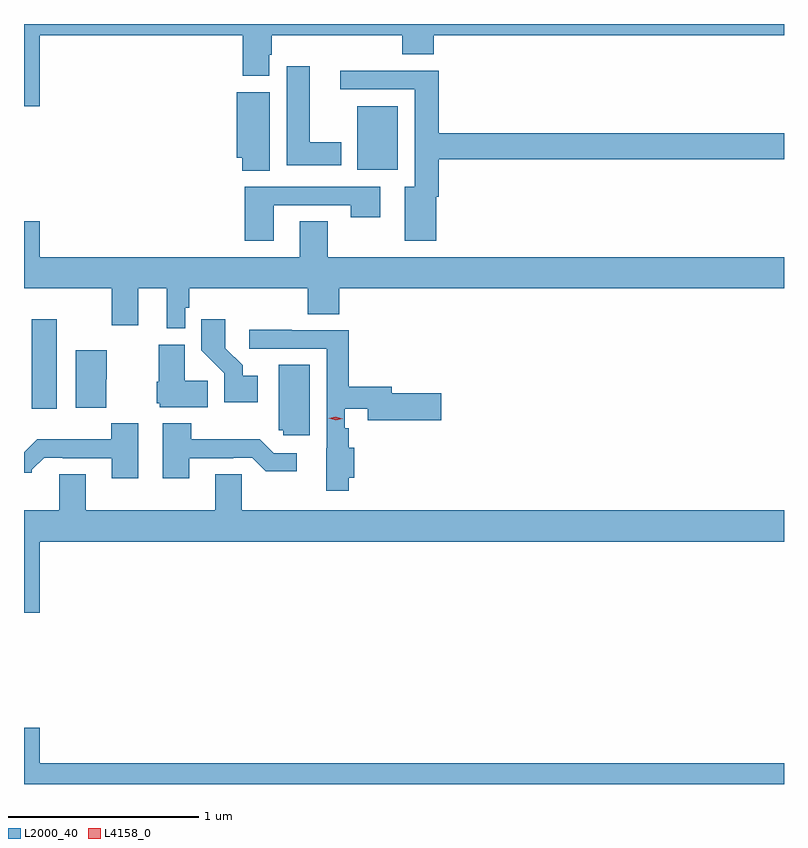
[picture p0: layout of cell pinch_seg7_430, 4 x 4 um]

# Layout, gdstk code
import gdstk
lib = gdstk.Library(unit=1e-6, precision=1e-09)
def R(c, l, rs):  # rectangles x0, y0, x1, y1
    for r in rs: c.add(gdstk.rectangle(r[:2], r[2:], *l))
def P(c, l, *ps):  # polygons
    for p in ps: c.add(gdstk.Polygon(p, *l))
L2000_40 = (2000, 40)
L4158_0 = (4158, 0)

pinch_seg7_430 = lib.new_cell('pinch_seg7_430')
R(pinch_seg7_430, L2000_40, [(249.047,1045.272,249.178,1045.741), (250.76,1046.528,250.972,1046.863)])
P(pinch_seg7_430, L2000_40, [(249.088,1047.236),(250.157,1047.236),(250.157,1047.023),(250.297,1047.023),(250.297,1047.135),(250.31,1047.135),(250.31,1047.236),(250.997,1047.236),(250.997,1047.137),(251.162,1047.137),(251.162,1047.236),(253.006,1047.236),(253.006,1047.296),(249.006,1047.296),(249.006,1046.862),(249.088,1046.862)],
  [(250.675,1046.674),(250.51,1046.674),(250.51,1047.073),(250.388,1047.073),(250.388,1046.552),(250.675,1046.552)],
  [(251.176,1046.387),(251.189,1046.387),(251.189,1046.584),(253.006,1046.584),(253.006,1046.72),(251.189,1046.72),(251.189,1047.05),(250.671,1047.05),(250.671,1046.952),(251.063,1046.952),(251.063,1046.44),(251.009,1046.44),(251.009,1046.154),(251.176,1046.154)],
  [(250.3,1046.938),(250.127,1046.938),(250.127,1046.591),(250.154,1046.591),(250.154,1046.524),(250.3,1046.524)],
  [(250.321,1046.343),(250.726,1046.343),(250.726,1046.28),(250.882,1046.28),(250.882,1046.439),(250.169,1046.439),(250.169,1046.154),(250.321,1046.154)],
  [(249.855,1045.803),(249.875,1045.803),(249.875,1045.904),(250.499,1045.904),(250.499,1045.768),(250.664,1045.768),(250.664,1045.904),(253.006,1045.904),(253.006,1046.068),(250.605,1046.068),(250.605,1046.258),(250.457,1046.258),(250.457,1046.068),(249.088,1046.068),(249.088,1046.257),(249.006,1046.257),(249.006,1045.904),(249.467,1045.904),(249.467,1045.71),(249.607,1045.71),(249.607,1045.904),(249.758,1045.904),(249.758,1045.694),(249.855,1045.694)],
  [(250.237,1045.444),(250.156,1045.444),(250.156,1045.499),(250.066,1045.589),(250.066,1045.741),(249.94,1045.741),(249.94,1045.578),(250.059,1045.459),(250.059,1045.304),(250.237,1045.304)],
  [(250.715,1044.908),(250.745,1044.908),(250.745,1045.066),(250.715,1045.066),(250.715,1045.169),(250.695,1045.169),(250.695,1045.271),(250.814,1045.271),(250.814,1045.21),(251.203,1045.21),(251.203,1045.352),(250.942,1045.352),(250.942,1045.388),(250.715,1045.388),(250.715,1045.683),(250.415,1045.683),(250.415,1045.686),(250.191,1045.686),(250.191,1045.587),(250.599,1045.587),(250.599,1045.062),(250.598,1045.062),(250.598,1044.84),(250.715,1044.84)],
  [(249.974,1045.418),(249.853,1045.418),(249.853,1045.609),(249.716,1045.609),(249.716,1045.413),(249.704,1045.413),(249.704,1045.299),(249.72,1045.299),(249.72,1045.28),(249.974,1045.28)],
  [(249.44,1045.425),(249.442,1045.425),(249.442,1045.579),(249.278,1045.579),(249.278,1045.277),(249.44,1045.277)],
  [(250.51,1045.502),(250.346,1045.502),(250.346,1045.158),(250.371,1045.158),(250.371,1045.131),(250.51,1045.131)],
  [(249.607,1045.195),(249.465,1045.195),(249.465,1045.111),(249.076,1045.111),(249.006,1045.041),(249.006,1044.935),(249.048,1044.935),(249.048,1044.95),(249.112,1045.014),(249.211,1045.014),(249.211,1045.011),(249.467,1045.011),(249.467,1044.906),(249.607,1044.906)],
  [(249.877,1045.011),(250.106,1045.011),(250.106,1045.014),(250.206,1045.014),(250.279,1044.941),(250.441,1044.941),(250.441,1045.038),(250.32,1045.038),(250.247,1045.111),(249.885,1045.111),(249.885,1045.195),(249.737,1045.195),(249.737,1044.906),(249.877,1044.906)],
  [(249.088,1044.572),(253.006,1044.572),(253.006,1044.736),(250.152,1044.736),(250.152,1044.926),(250.013,1044.926),(250.013,1044.736),(249.331,1044.736),(249.331,1044.926),(249.191,1044.926),(249.191,1044.736),(249.006,1044.736),(249.006,1044.198),(249.088,1044.198)],
  [(253.006,1043.404),(249.088,1043.404),(249.088,1043.593),(249.006,1043.593),(249.006,1043.296),(253.006,1043.296)])
P(pinch_seg7_430, L4158_0, [(250.647,1045.21),(250.611,1045.222),(250.611,1045.222),(250.611,1045.222),(250.647,1045.23),(250.683,1045.219),(250.683,1045.219),(250.683,1045.219)])

lib.write_gds('pinch_seg7_430.gds')
